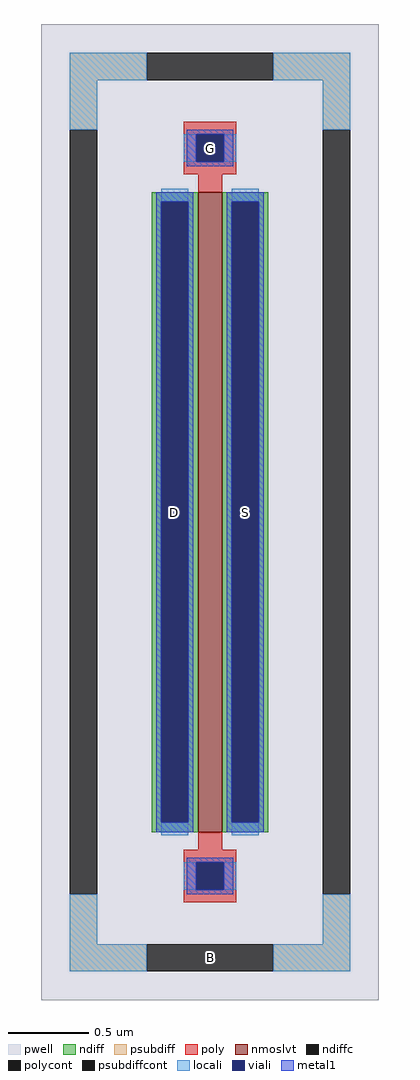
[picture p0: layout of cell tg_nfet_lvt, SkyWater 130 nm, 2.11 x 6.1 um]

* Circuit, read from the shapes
.subckt tg_nfet_lvt B D S G
XM1 S G D B sky130_fd_pr__nfet_01v8_lvt w=4 l=0.15
.ends

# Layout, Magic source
magic
tech sky130A
magscale 1 2
<< pwell >>
rect -211 -610 211 610
<< nmoslvt >>
rect -15 -400 15 400
<< ndiff >>
rect -73 388 -15 400
rect -73 -388 -61 388
rect -27 -388 -15 388
rect -73 -400 -15 -388
rect 15 388 73 400
rect 15 -388 27 388
rect 61 -388 73 388
rect 15 -400 73 -388
<< ndiffc >>
rect -61 -388 -27 388
rect 27 -388 61 388
<< psubdiff >>
rect -175 540 -79 574
rect 79 540 175 574
rect -175 478 -141 540
rect 141 478 175 540
rect -175 -540 -141 -478
rect 141 -540 175 -478
rect -175 -574 -79 -540
rect 79 -574 175 -540
<< psubdiffcont >>
rect -79 540 79 574
rect -175 -478 -141 478
rect 141 -478 175 478
rect -79 -574 79 -540
<< poly >>
rect -33 472 33 488
rect -33 438 -17 472
rect 17 438 33 472
rect -33 422 33 438
rect -15 400 15 422
rect -15 -422 15 -400
rect -33 -438 33 -422
rect -33 -472 -17 -438
rect 17 -472 33 -438
rect -33 -488 33 -472
<< polycont >>
rect -17 438 17 472
rect -17 -472 17 -438
<< locali >>
rect -175 540 -79 574
rect 79 540 175 574
rect -175 478 -141 540
rect 141 478 175 540
rect -33 438 -17 472
rect 17 438 33 472
rect -61 388 -27 404
rect -61 -404 -27 -388
rect 27 388 61 404
rect 27 -404 61 -388
rect -33 -472 -17 -438
rect 17 -472 33 -438
rect -175 -540 -141 -478
rect 141 -540 175 -478
rect -175 -574 -79 -540
rect 79 -574 175 -540
<< viali >>
rect -17 438 17 472
rect -61 -388 -27 388
rect 27 -388 61 388
rect -17 -472 17 -438
<< metal1 >>
rect -29 472 29 478
rect -29 438 -17 472
rect 17 438 29 472
rect -29 432 29 438
rect -67 388 -21 400
rect -67 -388 -61 388
rect -27 -388 -21 388
rect -67 -400 -21 -388
rect 21 388 67 400
rect 21 -388 27 388
rect 61 -388 67 388
rect 21 -400 67 -388
rect -29 -438 29 -432
rect -29 -472 -17 -438
rect 17 -472 29 -438
rect -29 -478 29 -472
<< labels >>
rlabel psubdiffcont 0 -557 0 -557 0 B
port 1 nsew
rlabel ndiffc -44 0 -44 0 0 D
port 2 nsew
rlabel ndiffc 44 0 44 0 0 S
port 3 nsew
rlabel polycont 0 455 0 455 0 G
port 4 nsew
<< properties >>
string FIXED_BBOX -158 -557 158 557
<< end >>
